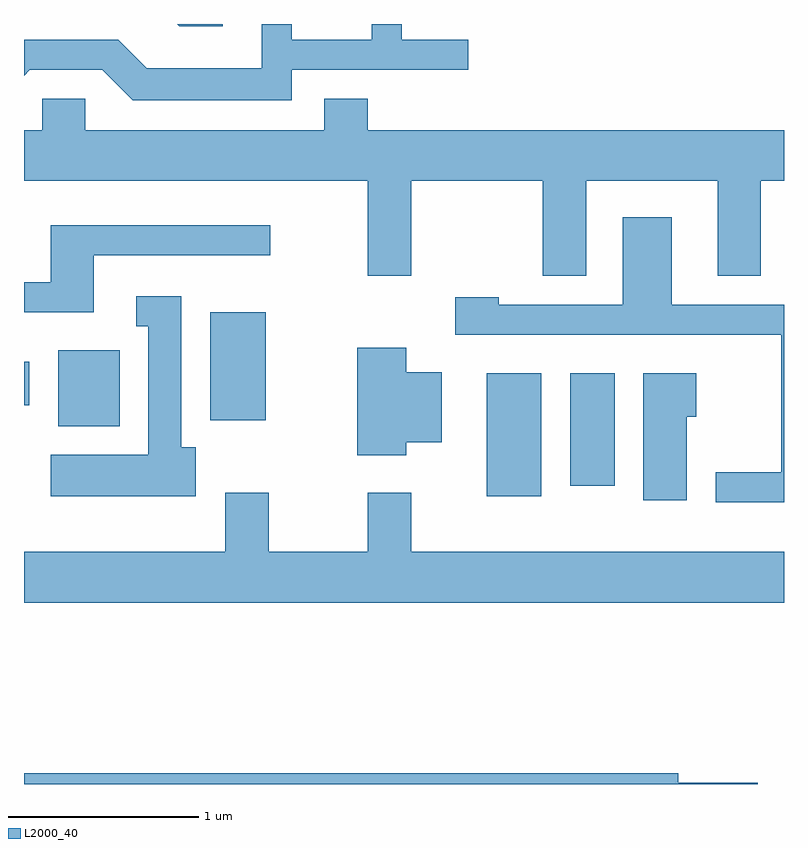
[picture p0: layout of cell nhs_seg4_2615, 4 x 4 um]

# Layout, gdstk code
import gdstk
lib = gdstk.Library(unit=1e-6, precision=1e-09)
def R(c, l, rs):  # rectangles x0, y0, x1, y1
    for r in rs: c.add(gdstk.rectangle(r[:2], r[2:], *l))
def P(c, l, *ps):  # polygons
    for p in ps: c.add(gdstk.Polygon(p, *l))
L2000_40 = (2000, 40)

nhs_seg4_2615 = lib.new_cell('nhs_seg4_2615')
R(nhs_seg4_2615, L2000_40, [(264.046,1317.496,264.334,1318.144), (264.486,1317.551,264.719,1318.144), (261.791,1317.866,262.114,1318.264), (262.591,1317.896,262.884,1318.464), (261.611,1317.976,261.639,1318.204)])
P(nhs_seg4_2615, L2000_40, [(263.019,1319.741),(263.948,1319.741),(263.948,1319.899),(263.599,1319.899),(263.599,1319.982),(263.441,1319.982),(263.441,1319.899),(263.019,1319.899),(263.019,1319.982),(262.861,1319.982),(262.861,1319.749),(262.257,1319.749),(262.106,1319.899),(261.611,1319.899),(261.611,1319.71),(261.642,1319.741),(262.024,1319.741),(262.184,1319.581),(263.019,1319.581)],
  [(262.658,1319.982),(262.418,1319.982),(262.429,1319.971),(262.658,1319.971)],
  [(263.649,1319.156),(264.341,1319.156),(264.341,1318.656),(264.569,1318.656),(264.569,1319.156),(265.261,1319.156),(265.261,1318.656),(265.489,1318.656),(265.489,1319.156),(265.611,1319.156),(265.611,1319.424),(263.419,1319.424),(263.419,1319.589),(263.191,1319.589),(263.191,1319.424),(261.934,1319.424),(261.934,1319.589),(261.706,1319.589),(261.706,1319.424),(261.611,1319.424),(261.611,1319.156),(263.421,1319.156),(263.421,1318.656),(263.649,1318.656)],
  [(265.611,1318.504),(265.019,1318.504),(265.019,1318.964),(264.761,1318.964),(264.761,1318.504),(264.109,1318.504),(264.109,1318.544),(263.881,1318.544),(263.881,1318.346),(265.596,1318.346),(265.596,1317.624),(265.253,1317.624),(265.253,1317.466),(265.611,1317.466)],
  [(261.979,1318.766),(262.908,1318.766),(262.908,1318.924),(261.751,1318.924),(261.751,1318.624),(261.611,1318.624),(261.611,1318.466),(261.979,1318.466)],
  [(262.514,1317.754),(262.439,1317.754),(262.439,1318.549),(262.203,1318.549),(262.203,1318.391),(262.266,1318.391),(262.266,1317.714),(261.751,1317.714),(261.751,1317.496),(262.514,1317.496)],
  [(263.624,1317.781),(263.809,1317.781),(263.809,1318.149),(263.624,1318.149),(263.624,1318.279),(263.366,1318.279),(263.366,1317.711),(263.624,1317.711)],
  [(265.099,1317.916),(265.149,1317.916),(265.149,1318.144),(264.871,1318.144),(264.871,1317.476),(265.099,1317.476)],
  [(265.611,1317.204),(263.649,1317.204),(263.649,1317.514),(263.421,1317.514),(263.421,1317.204),(262.899,1317.204),(262.899,1317.514),(262.671,1317.514),(262.671,1317.204),(261.611,1317.204),(261.611,1316.936),(265.611,1316.936)],
  [(265.474,1315.989),(265.054,1315.989),(265.054,1316.039),(261.611,1316.039),(261.611,1315.982),(265.474,1315.982)])

lib.write_gds('nhs_seg4_2615.gds')
